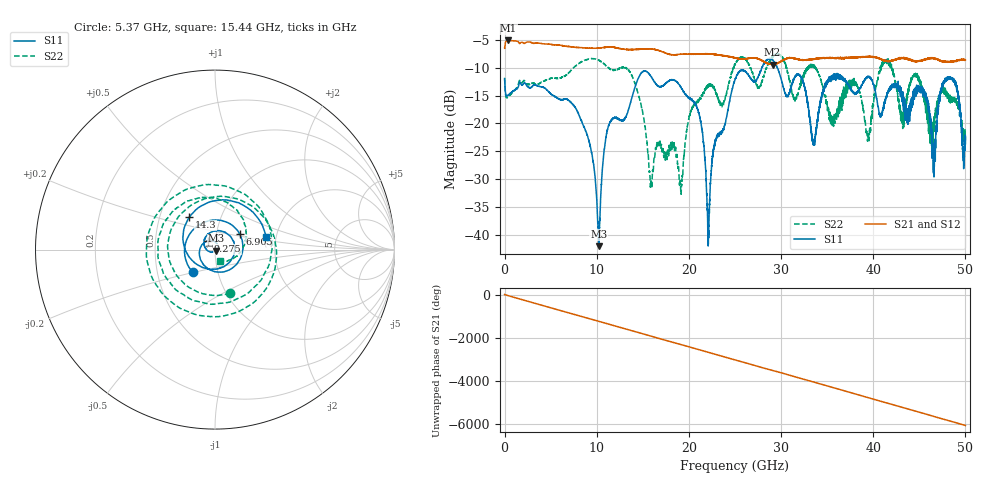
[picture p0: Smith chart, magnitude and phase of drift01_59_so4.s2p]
!Created with skrf (http://scikit-rf.org).
# Hz S RI R 50.0
!freq ReS11 ImS11 ReS21 ImS21 ReS12 ImS12 ReS22 ImS22
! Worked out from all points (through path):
!   10001 points, 300 kHz to 50 GHz, reference 50 ohm
!   highest |S21| = -5.05 dB at 410.3 MHz (marker M1); lowest = -9.4 dB at 29.08 GHz (marker M2)
!   group delay of S21, straight-line fit = 336 ps
!   lowest |S11| = -42.1 dB at 10.22 GHz (marker M3), VSWR 1.02, Z = 50.5 - j0.628 ohm
!   |S11| at or under -10 dB: start of sweep to 27.9 GHz; 29.6 GHz to end of sweep
!   |S22| runs from -32.7 to -7.5 dB; largest |S21 - S12| = 0.013
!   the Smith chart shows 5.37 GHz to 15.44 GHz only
!   S11 on the Smith chart (normalised r, x): 5.37 GHz: 0.76, -0.20; 6.905 GHz: 1.30, +0.23; 9.275 GHz: 0.92, +0.09; 14.3 GHz: 0.71, +0.27; 15.44 GHz: 1.77, +0.27
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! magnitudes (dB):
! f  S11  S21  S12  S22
! 300 kHz  -12.0  -6.4  -6.5  -11.8
! 410.3 MHz  -14.8  -5.1  -5.1  -15.1
! 5.37 GHz  -15.0  -5.8  -5.8  -11.8
! 6.905 GHz  -15.7  -6.1  -6.1  -11.0
! 8.335 GHz  -19.5  -6.3  -6.4  -8.9
! 9.275 GHz  -24.0  -6.4  -6.4  -8.3
! 10.22 GHz  -42.1  -6.4  -6.4  -8.6
! 11.23 GHz  -20.7  -6.3  -6.2  -9.9
! 14.3 GHz  -12.7  -6.7  -6.7  -13.5
! 15.44 GHz  -10.7  -6.5  -6.6  -22.9
! 16.67 GHz  -13.3  -6.8  -6.8  -23.3
! 19.14 GHz  -13.5  -7.5  -7.5  -32.6
! 20.85 GHz  -17.0  -7.5  -7.5  -16.0
! 22.12 GHz  -41.0  -7.5  -7.5  -13.2
! 25 GHz  -12.1  -8.2  -8.2  -9.3
! 29.08 GHz  -8.6  -9.4  -9.3  -8.1
! 33.34 GHz  -22.6  -8.5  -8.4  -9.6
! 39.46 GHz  -11.7  -7.9  -8.0  -21.9
! 41.67 GHz  -13.8  -8.7  -8.7  -9.2
! 46.55 GHz  -27.5  -8.3  -8.3  -20.5
! 48.56 GHz  -12.0  -8.8  -8.8  -15.9
! 50 GHz  -23.7  -8.6  -8.6  -23.1
